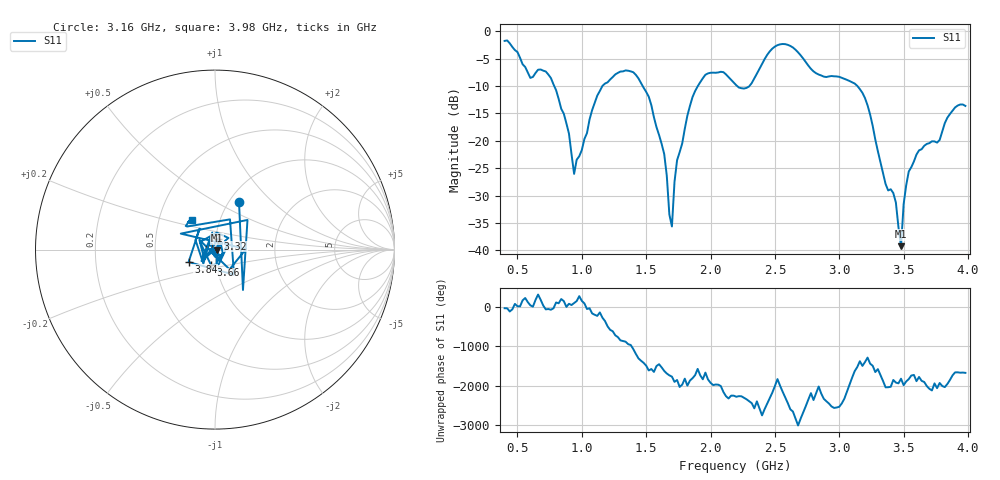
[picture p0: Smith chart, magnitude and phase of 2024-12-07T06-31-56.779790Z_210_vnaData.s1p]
!Created with skrf (http://scikit-rf.org).
# Hz S RI R 50.0
!freq ReS11 ImS11
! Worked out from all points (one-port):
!   180 points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, 400 MHz to 3.98 GHz, reference 50 ohm
!   lowest |S11| = -39.2 dB at 3.48 GHz (marker M1), VSWR 1.02, Z = 51 - j0.392 ohm
!   |S11| at or under -10 dB: 785.3 MHz to 1.16 GHz (374.5 MHz wide, 38.5 % of centre); 1.472 GHz to 1.902 GHz (429.2 MHz wide, 25.4 % of centre); 3.141 GHz to end of sweep (the widest 3 of 4)
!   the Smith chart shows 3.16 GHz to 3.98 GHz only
!   S11 on the Smith chart (normalised r, x): 3.16 GHz: 1.11, +0.64; 3.32 GHz: 1.03, +0.13; 3.66 GHz: 0.94, -0.17; 3.84 GHz: 0.74, -0.10; 3.98 GHz: 0.74, +0.25
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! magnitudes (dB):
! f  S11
! 400 MHz  -1.8
! 600 MHz  -8.5
! 740 MHz  -7.9
! 860 MHz  -15.1
! 940 MHz  -26.0
! 1.12 GHz  -11.8
! 1.3 GHz  -7.4
! 1.52 GHz  -12.0
! 1.64 GHz  -22.4
! 1.7 GHz  -35.6
! 1.72 GHz  -27.5
! 1.76 GHz  -22.1
! 1.86 GHz  -12.0
! 1.96 GHz  -8.0
! 2.2 GHz  -9.9
! 2.3 GHz  -10.1
! 2.5 GHz  -2.8
! 2.64 GHz  -3.0
! 3.1 GHz  -9.3
! 3.16 GHz  -10.6
! 3.32 GHz  -23.9
! 3.44 GHz  -31.3
! 3.48 GHz  -39.2
! 3.5 GHz  -31.6
! 3.54 GHz  -25.6
! 3.66 GHz  -20.9
! 3.84 GHz  -15.8
! 3.98 GHz  -13.6
